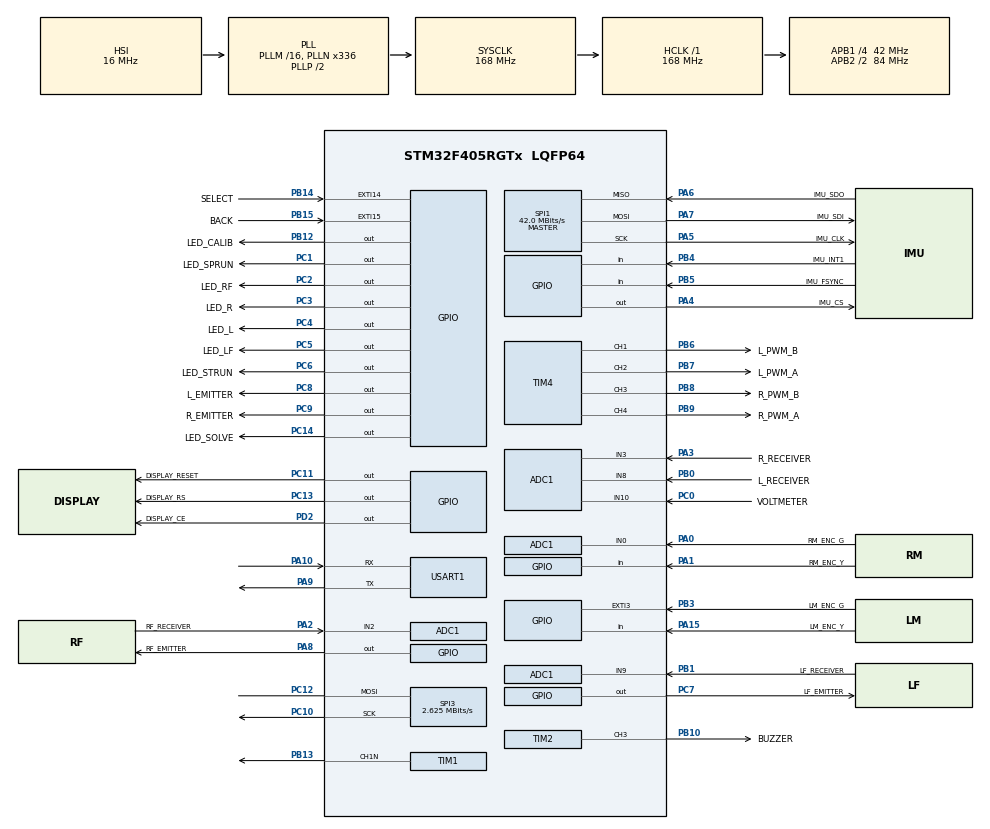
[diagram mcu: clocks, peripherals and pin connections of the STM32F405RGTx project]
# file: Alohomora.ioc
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ADC1.Channel-0\#ChannelRegularConversion=ADC_CHANNEL_10
ADC1.NbrOfConversionFlag=1
ADC1.Rank-0\#ChannelRegularConversion=1
ADC1.SamplingTime-0\#ChannelRegularConversion=ADC_SAMPLETIME_3CYCLES
ADC1.master=1
Mcu.Family=STM32F4
Mcu.Name=STM32F405RGTx
Mcu.Package=LQFP64
NVIC.PriorityGroup=NVIC_PRIORITYGROUP_4
PA0-WKUP.GPIO_Label=RM_ENC_G
PA0-WKUP.Signal=ADCx_IN0
PA1.GPIO_Label=RM_ENC_Y
PA1.Signal=GPIO_Input
PA10.Mode=Asynchronous
PA10.Signal=USART1_RX
PA13.Mode=Serial_Wire
PA13.Signal=SYS_JTMS-SWDIO
PA14.Mode=Serial_Wire
PA14.Signal=SYS_JTCK-SWCLK
PA15.GPIO_Label=LM_ENC_Y
PA15.Signal=GPIO_Input
PA2.GPIO_Label=RF_RECEIVER
PA2.Signal=ADCx_IN2
PA3.GPIO_Label=R_RECEIVER
PA3.Signal=ADCx_IN3
PA4.GPIO_Label=IMU_CS
PA4.Signal=GPIO_Output
PA5.GPIO_Label=IMU_CLK
PA5.Mode=Full_Duplex_Master
PA5.Signal=SPI1_SCK
PA6.GPIO_Label=IMU_SDO
PA6.Mode=Full_Duplex_Master
PA6.Signal=SPI1_MISO
PA7.GPIO_Label=IMU_SDI
PA7.Mode=Full_Duplex_Master
PA7.Signal=SPI1_MOSI
PA8.GPIO_Label=RF_EMITTER
PA8.Signal=GPIO_Output
PA9.Mode=Asynchronous
PA9.Signal=USART1_TX
PB0.GPIO_Label=L_RECEIVER
PB0.Signal=ADCx_IN8
PB1.GPIO_Label=LF_RECEIVER
PB1.Signal=ADCx_IN9
PB10.GPIO_Label=BUZZER
PB10.Signal=S_TIM2_CH3
PB12.GPIO_Label=LED_CALIB
PB12.Signal=GPIO_Output
PB13.Mode=PWM Generation1 CH1N
PB13.Signal=TIM1_CH1N
PB14.GPIO_Label=SELECT
PB14.Signal=GPXTI14
PB15.GPIO_Label=BACK
PB15.Signal=GPXTI15
PB3.GPIO_Label=LM_ENC_G
PB3.Signal=GPXTI3
PB4.GPIO_Label=IMU_INT1
PB4.Signal=GPIO_Input
PB5.GPIO_Label=IMU_FSYNC
PB5.Signal=GPIO_Input
PB6.GPIO_Label=L_PWM_B
PB6.Signal=S_TIM4_CH1
PB7.GPIO_Label=L_PWM_A
PB7.Signal=S_TIM4_CH2
PB8.GPIO_Label=R_PWM_B
PB8.Signal=S_TIM4_CH3
PB9.GPIO_Label=R_PWM_A
PB9.Signal=S_TIM4_CH4
PC0.GPIO_Label=VOLTMETER
PC0.Signal=ADCx_IN10
PC1.GPIO_Label=LED_SPRUN
PC1.Signal=GPIO_Output
PC10.Mode=Simplex_Bidirectional_Master
PC10.Signal=SPI3_SCK
PC11.GPIO_Label=DISPLAY_RESET
PC11.Signal=GPIO_Output
PC12.Mode=Simplex_Bidirectional_Master
PC12.Signal=SPI3_MOSI
PC13-ANTI_TAMP.GPIO_Label=DISPLAY_RS
PC13-ANTI_TAMP.Signal=GPIO_Output
PC14-OSC32_IN.GPIO_Label=LED_SOLVE
PC14-OSC32_IN.Signal=GPIO_Output
PC2.GPIO_Label=LED_RF
PC2.Signal=GPIO_Output
PC3.GPIO_Label=LED_R
PC3.Signal=GPIO_Output
PC4.GPIO_Label=LED_L
PC4.Signal=GPIO_Output
PC5.GPIO_Label=LED_LF
PC5.Signal=GPIO_Output
PC6.GPIO_Label=LED_STRUN
PC6.Signal=GPIO_Output
PC7.GPIO_Label=LF_EMITTER
PC7.Signal=GPIO_Output
PC8.GPIO_Label=L_EMITTER
PC8.Signal=GPIO_Output
PC9.GPIO_Label=R_EMITTER
PC9.Signal=GPIO_Output
PD2.GPIO_Label=DISPLAY_CE
PD2.Signal=GPIO_Output
ProjectManager.HeapSize=0x200
ProjectManager.StackSize=0x400
ProjectManager.TargetToolchain=STM32CubeIDE
RCC.48MHZClocksFreq_Value=48000000
RCC.AHBFreq_Value=168000000
RCC.APB1CLKDivider=RCC_HCLK_DIV4
RCC.APB1Freq_Value=42000000
RCC.APB1TimFreq_Value=84000000
RCC.APB2CLKDivider=RCC_HCLK_DIV2
RCC.APB2Freq_Value=84000000
RCC.APB2TimFreq_Value=168000000
RCC.CortexFreq_Value=168000000
RCC.HCLKFreq_Value=168000000
RCC.HSE_VALUE=25000000
RCC.HSI_VALUE=16000000
RCC.LSE_VALUE=32768
RCC.PLLN=336
RCC.PLLQ=7
RCC.RCC_RTC_Clock_Source=RCC_RTCCLKSOURCE_LSI
RCC.RCC_RTC_Clock_SourceVirtual=RCC_RTCCLKSOURCE_LSI
RCC.SYSCLKFreq_VALUE=168000000
RCC.SYSCLKSource=RCC_SYSCLKSOURCE_PLLCLK
RCC.VCOOutputFreq_Value=336000000
SH.ADCx_IN0.0=ADC1_IN0,IN0
SH.ADCx_IN10.0=ADC1_IN10,IN10
SH.ADCx_IN2.0=ADC1_IN2,IN2
SH.ADCx_IN3.0=ADC1_IN3,IN3
SH.ADCx_IN8.0=ADC1_IN8,IN8
SH.ADCx_IN9.0=ADC1_IN9,IN9
SH.S_TIM2_CH3.0=TIM2_CH3,PWM Generation3 CH3
SH.S_TIM4_CH1.0=TIM4_CH1,PWM Generation1 CH1
SH.S_TIM4_CH2.0=TIM4_CH2,PWM Generation2 CH2
SH.S_TIM4_CH3.0=TIM4_CH3,PWM Generation3 CH3
SH.S_TIM4_CH4.0=TIM4_CH4,PWM Generation4 CH4
SPI1.BaudRatePrescaler=SPI_BAUDRATEPRESCALER_2
SPI1.CalculateBaudRate=42.0 MBits/s
SPI1.Direction=SPI_DIRECTION_2LINES
SPI1.Mode=SPI_MODE_MASTER
SPI1.VirtualType=VM_MASTER
SPI3.BaudRatePrescaler=SPI_BAUDRATEPRESCALER_16
SPI3.CalculateBaudRate=2.625 MBits/s
SPI3.Direction=SPI_DIRECTION_1LINE
SPI3.Mode=SPI_MODE_MASTER
SPI3.VirtualType=VM_MASTER
TIM1.Channel-PWM\ Generation1\ CH1N=TIM_CHANNEL_1
TIM1.ClockDivision=TIM_CLOCKDIVISION_DIV4
TIM1.Period=10000
TIM1.Prescaler=168
TIM1.Pulse-PWM\ Generation1\ CH1N=5000
TIM2.AutoReloadPreload=TIM_AUTORELOAD_PRELOAD_ENABLE
TIM2.Channel-PWM\ Generation3\ CH3=TIM_CHANNEL_3
TIM2.ClockDivision=TIM_CLOCKDIVISION_DIV1
TIM2.Period=250
TIM2.Prescaler=83
TIM2.Pulse-PWM\ Generation3\ CH3=125
TIM4.Channel-PWM\ Generation1\ CH1=TIM_CHANNEL_1
TIM4.Channel-PWM\ Generation2\ CH2=TIM_CHANNEL_2
TIM4.Channel-PWM\ Generation3\ CH3=TIM_CHANNEL_3
TIM4.Channel-PWM\ Generation4\ CH4=TIM_CHANNEL_4
USART1.VirtualMode=VM_ASYNC
VP_TIM1_VS_ClockSourceINT.Mode=Internal
VP_TIM2_VS_ClockSourceINT.Mode=Internal
VP_TIM4_VS_ClockSourceINT.Mode=Internal
board=custom

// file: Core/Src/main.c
/* USER CODE BEGIN Header */
/**
  ******************************************************************************
  * @file           : main.c
  * @brief          : Main program body
  ******************************************************************************
  * @attention
  *
  * Copyright (c) 2025 STMicroelectronics.
  * All rights reserved.
  *
  * This software is licensed under terms that can be found in the LICENSE file
  * in the root directory of this software component.
  * If no LICENSE file comes with this software, it is provided AS-IS.
  *
  ******************************************************************************
  */
/* USER CODE END Header */
#include "main.h"

ADC_HandleTypeDef hadc1;

SPI_HandleTypeDef hspi1;
SPI_HandleTypeDef hspi3;

TIM_HandleTypeDef htim1;
TIM_HandleTypeDef htim2;
TIM_HandleTypeDef htim4;

UART_HandleTypeDef huart1;

void SystemClock_Config(void);
static void MX_GPIO_Init(void);
static void MX_USART1_UART_Init(void);
static void MX_ADC1_Init(void);
static void MX_SPI1_Init(void);
static void MX_TIM4_Init(void);
static void MX_SPI3_Init(void);
static void MX_TIM2_Init(void);
static void MX_TIM1_Init(void);
/* USER CODE BEGIN PFP */
// Simplified 5x7 font table for "ON" and space
const uint8_t font_5x7[96][5] = {
    {0x00, 0x00, 0x00, 0x00, 0x00}, // Space (ASCII 32)
    // ... Other characters omitted for brevity
    {0x3E, 0x41, 0x41, 0x41, 0x3E}, // O (ASCII 79)
    {0x7F, 0x04, 0x08, 0x10, 0x7F}  // N (ASCII 78)
};

/* USER CODE END PFP */

int main(void)
{

  /* MCU Configuration--------------------------------------------------------*/

  /* Reset of all peripherals, Initializes the Flash interface and the Systick. */
  HAL_Init();

  /* Configure the system clock */
  SystemClock_Config();

  /* Initialize all configured peripherals */
  MX_GPIO_Init();
  MX_USART1_UART_Init();
  MX_ADC1_Init();
  MX_SPI1_Init();
  MX_TIM4_Init();
  MX_SPI3_Init();
  MX_TIM2_Init();
  MX_TIM1_Init();
  /* USER CODE BEGIN 2 */
  // Initialize and turn on HCMS-2903 display
//    HCMS2903_Init();
//
//    // Display "ON  " (padded with spaces)
//    HCMS2903_DisplayString("ON");

  /* USER CODE END 2 */

  /* Infinite loop */
  /* USER CODE BEGIN WHILE */
  //
  HAL_TIMEx_PWMN_Start(&htim1, TIM_CHANNEL_1);
  while (1)
  {
    /* USER CODE END WHILE */

  }
}

void SystemClock_Config(void)
{
  RCC_OscInitTypeDef RCC_OscInitStruct = {0};
  RCC_ClkInitTypeDef RCC_ClkInitStruct = {0};

  /** Configure the main internal regulator output voltage
  */
  __HAL_RCC_PWR_CLK_ENABLE();
  __HAL_PWR_VOLTAGESCALING_CONFIG(PWR_REGULATOR_VOLTAGE_SCALE1);

  /** Initializes the RCC Oscillators according to the specified parameters
  * in the RCC_OscInitTypeDef structure.
  */
  RCC_OscInitStruct.OscillatorType = RCC_OSCILLATORTYPE_HSI;
  RCC_OscInitStruct.HSIState = RCC_HSI_ON;
  RCC_OscInitStruct.HSICalibrationValue = RCC_HSICALIBRATION_DEFAULT;
  RCC_OscInitStruct.PLL.PLLState = RCC_PLL_ON;
  RCC_OscInitStruct.PLL.PLLSource = RCC_PLLSOURCE_HSI;
  RCC_OscInitStruct.PLL.PLLM = 16;
  RCC_OscInitStruct.PLL.PLLN = 336;
  RCC_OscInitStruct.PLL.PLLP = RCC_PLLP_DIV2;
  RCC_OscInitStruct.PLL.PLLQ = 7;
  if (HAL_RCC_OscConfig(&RCC_OscInitStruct) != HAL_OK)
  {
    Error_Handler();
  }

  /** Initializes the CPU, AHB and APB buses clocks
  */
  RCC_ClkInitStruct.ClockType = RCC_CLOCKTYPE_HCLK|RCC_CLOCKTYPE_SYSCLK
                              |RCC_CLOCKTYPE_PCLK1|RCC_CLOCKTYPE_PCLK2;
  RCC_ClkInitStruct.SYSCLKSource = RCC_SYSCLKSOURCE_PLLCLK;
  RCC_ClkInitStruct.AHBCLKDivider = RCC_SYSCLK_DIV1;
  RCC_ClkInitStruct.APB1CLKDivider = RCC_HCLK_DIV4;
  RCC_ClkInitStruct.APB2CLKDivider = RCC_HCLK_DIV2;

  if (HAL_RCC_ClockConfig(&RCC_ClkInitStruct, FLASH_LATENCY_5) != HAL_OK)
  {
    Error_Handler();
  }
}

static void MX_ADC1_Init(void)
{

  ADC_ChannelConfTypeDef sConfig = {0};

  /** Configure the global features of the ADC (Clock, Resolution, Data Alignment and number of conversion)
  */
  hadc1.Instance = ADC1;
  hadc1.Init.ClockPrescaler = ADC_CLOCK_SYNC_PCLK_DIV4;
  hadc1.Init.Resolution = ADC_RESOLUTION_12B;
  hadc1.Init.ScanConvMode = DISABLE;
  hadc1.Init.ContinuousConvMode = DISABLE;
  hadc1.Init.DiscontinuousConvMode = DISABLE;
  hadc1.Init.ExternalTrigConvEdge = ADC_EXTERNALTRIGCONVEDGE_NONE;
  hadc1.Init.ExternalTrigConv = ADC_SOFTWARE_START;
  hadc1.Init.DataAlign = ADC_DATAALIGN_RIGHT;
  hadc1.Init.NbrOfConversion = 1;
  hadc1.Init.DMAContinuousRequests = DISABLE;
  hadc1.Init.EOCSelection = ADC_EOC_SINGLE_CONV;
  if (HAL_ADC_Init(&hadc1) != HAL_OK)
  {
    Error_Handler();
  }

  /** Configure for the selected ADC regular channel its corresponding rank in the sequencer and its sample time.
  */
  sConfig.Channel = ADC_CHANNEL_10;
  sConfig.Rank = 1;
  sConfig.SamplingTime = ADC_SAMPLETIME_3CYCLES;
  if (HAL_ADC_ConfigChannel(&hadc1, &sConfig) != HAL_OK)
  {
    Error_Handler();
  }

}

static void MX_SPI1_Init(void)
{

  /* SPI1 parameter configuration*/
  hspi1.Instance = SPI1;
  hspi1.Init.Mode = SPI_MODE_MASTER;
  hspi1.Init.Direction = SPI_DIRECTION_2LINES;
  hspi1.Init.DataSize = SPI_DATASIZE_8BIT;
  hspi1.Init.CLKPolarity = SPI_POLARITY_LOW;
  hspi1.Init.CLKPhase = SPI_PHASE_1EDGE;
  hspi1.Init.NSS = SPI_NSS_SOFT;
  hspi1.Init.BaudRatePrescaler = SPI_BAUDRATEPRESCALER_2;
  hspi1.Init.FirstBit = SPI_FIRSTBIT_MSB;
  hspi1.Init.TIMode = SPI_TIMODE_DISABLE;
  hspi1.Init.CRCCalculation = SPI_CRCCALCULATION_DISABLE;
  hspi1.Init.CRCPolynomial = 10;
  if (HAL_SPI_Init(&hspi1) != HAL_OK)
  {
    Error_Handler();
  }

}

static void MX_SPI3_Init(void)
{

  /* SPI3 parameter configuration*/
  hspi3.Instance = SPI3;
  hspi3.Init.Mode = SPI_MODE_MASTER;
  hspi3.Init.Direction = SPI_DIRECTION_1LINE;
  hspi3.Init.DataSize = SPI_DATASIZE_8BIT;
  hspi3.Init.CLKPolarity = SPI_POLARITY_LOW;
  hspi3.Init.CLKPhase = SPI_PHASE_1EDGE;
  hspi3.Init.NSS = SPI_NSS_SOFT;
  hspi3.Init.BaudRatePrescaler = SPI_BAUDRATEPRESCALER_16;
  hspi3.Init.FirstBit = SPI_FIRSTBIT_MSB;
  hspi3.Init.TIMode = SPI_TIMODE_DISABLE;
  hspi3.Init.CRCCalculation = SPI_CRCCALCULATION_DISABLE;
  hspi3.Init.CRCPolynomial = 10;
  if (HAL_SPI_Init(&hspi3) != HAL_OK)
  {
    Error_Handler();
  }

}

static void MX_TIM1_Init(void)
{

  TIM_ClockConfigTypeDef sClockSourceConfig = {0};
  TIM_MasterConfigTypeDef sMasterConfig = {0};
  TIM_OC_InitTypeDef sConfigOC = {0};
  TIM_BreakDeadTimeConfigTypeDef sBreakDeadTimeConfig = {0};

  htim1.Instance = TIM1;
  htim1.Init.Prescaler = 168;
  htim1.Init.CounterMode = TIM_COUNTERMODE_UP;
  htim1.Init.Period = 10000;
  htim1.Init.ClockDivision = TIM_CLOCKDIVISION_DIV4;
  htim1.Init.RepetitionCounter = 0;
  htim1.Init.AutoReloadPreload = TIM_AUTORELOAD_PRELOAD_DISABLE;
  if (HAL_TIM_Base_Init(&htim1) != HAL_OK)
  {
    Error_Handler();
  }
  sClockSourceConfig.ClockSource = TIM_CLOCKSOURCE_INTERNAL;
  if (HAL_TIM_ConfigClockSource(&htim1, &sClockSourceConfig) != HAL_OK)
  {
    Error_Handler();
  }
  if (HAL_TIM_PWM_Init(&htim1) != HAL_OK)
  {
    Error_Handler();
  }
  sMasterConfig.MasterOutputTrigger = TIM_TRGO_RESET;
  sMasterConfig.MasterSlaveMode = TIM_MASTERSLAVEMODE_DISABLE;
  if (HAL_TIMEx_MasterConfigSynchronization(&htim1, &sMasterConfig) != HAL_OK)
  {
    Error_Handler();
  }
  sConfigOC.OCMode = TIM_OCMODE_PWM1;
  sConfigOC.Pulse = 5000;
  sConfigOC.OCPolarity = TIM_OCPOLARITY_HIGH;
  sConfigOC.OCNPolarity = TIM_OCNPOLARITY_HIGH;
  sConfigOC.OCFastMode = TIM_OCFAST_DISABLE;
  sConfigOC.OCIdleState = TIM_OCIDLESTATE_RESET;
  sConfigOC.OCNIdleState = TIM_OCNIDLESTATE_RESET;
  if (HAL_TIM_PWM_ConfigChannel(&htim1, &sConfigOC, TIM_CHANNEL_1) != HAL_OK)
  {
    Error_Handler();
  }
  sBreakDeadTimeConfig.OffStateRunMode = TIM_OSSR_DISABLE;
  sBreakDeadTimeConfig.OffStateIDLEMode = TIM_OSSI_DISABLE;
  sBreakDeadTimeConfig.LockLevel = TIM_LOCKLEVEL_OFF;
  sBreakDeadTimeConfig.DeadTime = 0;
  sBreakDeadTimeConfig.BreakState = TIM_BREAK_DISABLE;
  sBreakDeadTimeConfig.BreakPolarity = TIM_BREAKPOLARITY_HIGH;
  sBreakDeadTimeConfig.AutomaticOutput = TIM_AUTOMATICOUTPUT_DISABLE;
  if (HAL_TIMEx_ConfigBreakDeadTime(&htim1, &sBreakDeadTimeConfig) != HAL_OK)
  {
    Error_Handler();
  }
  HAL_TIM_MspPostInit(&htim1);

}

static void MX_TIM2_Init(void)
{

  TIM_ClockConfigTypeDef sClockSourceConfig = {0};
  TIM_MasterConfigTypeDef sMasterConfig = {0};
  TIM_OC_InitTypeDef sConfigOC = {0};

  htim2.Instance = TIM2;
  htim2.Init.Prescaler = 83;
  htim2.Init.CounterMode = TIM_COUNTERMODE_UP;
  htim2.Init.Period = 250;
  htim2.Init.ClockDivision = TIM_CLOCKDIVISION_DIV1;
  htim2.Init.AutoReloadPreload = TIM_AUTORELOAD_PRELOAD_ENABLE;
  if (HAL_TIM_Base_Init(&htim2) != HAL_OK)
  {
    Error_Handler();
  }
  sClockSourceConfig.ClockSource = TIM_CLOCKSOURCE_INTERNAL;
  if (HAL_TIM_ConfigClockSource(&htim2, &sClockSourceConfig) != HAL_OK)
  {
    Error_Handler();
  }
  if (HAL_TIM_PWM_Init(&htim2) != HAL_OK)
  {
    Error_Handler();
  }
  sMasterConfig.MasterOutputTrigger = TIM_TRGO_RESET;
  sMasterConfig.MasterSlaveMode = TIM_MASTERSLAVEMODE_DISABLE;
  if (HAL_TIMEx_MasterConfigSynchronization(&htim2, &sMasterConfig) != HAL_OK)
  {
    Error_Handler();
  }
  sConfigOC.OCMode = TIM_OCMODE_PWM1;
  sConfigOC.Pulse = 125;
  sConfigOC.OCPolarity = TIM_OCPOLARITY_HIGH;
  sConfigOC.OCFastMode = TIM_OCFAST_DISABLE;
  if (HAL_TIM_PWM_ConfigChannel(&htim2, &sConfigOC, TIM_CHANNEL_3) != HAL_OK)
  {
    Error_Handler();
  }
  HAL_TIM_MspPostInit(&htim2);

}

static void MX_TIM4_Init(void)
{

  TIM_ClockConfigTypeDef sClockSourceConfig = {0};
  TIM_MasterConfigTypeDef sMasterConfig = {0};
  TIM_OC_InitTypeDef sConfigOC = {0};

  htim4.Instance = TIM4;
  htim4.Init.Prescaler = 0;
  htim4.Init.CounterMode = TIM_COUNTERMODE_UP;
  htim4.Init.Period = 65535;
  htim4.Init.ClockDivision = TIM_CLOCKDIVISION_DIV1;
  htim4.Init.AutoReloadPreload = TIM_AUTORELOAD_PRELOAD_DISABLE;
  if (HAL_TIM_Base_Init(&htim4) != HAL_OK)
  {
    Error_Handler();
  }
  sClockSourceConfig.ClockSource = TIM_CLOCKSOURCE_INTERNAL;
  if (HAL_TIM_ConfigClockSource(&htim4, &sClockSourceConfig) != HAL_OK)
  {
    Error_Handler();
  }
  if (HAL_TIM_PWM_Init(&htim4) != HAL_OK)
  {
    Error_Handler();
  }
  sMasterConfig.MasterOutputTrigger = TIM_TRGO_RESET;
  sMasterConfig.MasterSlaveMode = TIM_MASTERSLAVEMODE_DISABLE;
  if (HAL_TIMEx_MasterConfigSynchronization(&htim4, &sMasterConfig) != HAL_OK)
  {
    Error_Handler();
  }
  sConfigOC.OCMode = TIM_OCMODE_PWM1;
  sConfigOC.Pulse = 0;
  sConfigOC.OCPolarity = TIM_OCPOLARITY_HIGH;
  sConfigOC.OCFastMode = TIM_OCFAST_DISABLE;
  if (HAL_TIM_PWM_ConfigChannel(&htim4, &sConfigOC, TIM_CHANNEL_1) != HAL_OK)
  {
    Error_Handler();
  }
  if (HAL_TIM_PWM_ConfigChannel(&htim4, &sConfigOC, TIM_CHANNEL_2) != HAL_OK)
  {
    Error_Handler();
  }
  if (HAL_TIM_PWM_ConfigChannel(&htim4, &sConfigOC, TIM_CHANNEL_3) != HAL_OK)
  {
    Error_Handler();
  }
  if (HAL_TIM_PWM_ConfigChannel(&htim4, &sConfigOC, TIM_CHANNEL_4) != HAL_OK)
  {
    Error_Handler();
  }
  HAL_TIM_MspPostInit(&htim4);

}

static void MX_USART1_UART_Init(void)
{

  huart1.Instance = USART1;
  huart1.Init.BaudRate = 115200;
  huart1.Init.WordLength = UART_WORDLENGTH_8B;
  huart1.Init.StopBits = UART_STOPBITS_1;
  huart1.Init.Parity = UART_PARITY_NONE;
  huart1.Init.Mode = UART_MODE_TX_RX;
  huart1.Init.HwFlowCtl = UART_HWCONTROL_NONE;
  huart1.Init.OverSampling = UART_OVERSAMPLING_16;
  if (HAL_UART_Init(&huart1) != HAL_OK)
  {
    Error_Handler();
  }

}

static void MX_GPIO_Init(void)
{
  GPIO_InitTypeDef GPIO_InitStruct = {0};

  /* GPIO Ports Clock Enable */
  __HAL_RCC_GPIOC_CLK_ENABLE();
  __HAL_RCC_GPIOA_CLK_ENABLE();
  __HAL_RCC_GPIOB_CLK_ENABLE();
  __HAL_RCC_GPIOD_CLK_ENABLE();

  /*Configure GPIO pin Output Level */
  HAL_GPIO_WritePin(GPIOC, DISPLAY_RS_Pin|LED_SOLVE_Pin|LED_SPRUN_Pin|LED_RF_Pin
                          |LED_R_Pin|LED_L_Pin|LED_LF_Pin|LED_STRUN_Pin
                          |LF_EMITTER_Pin|L_EMITTER_Pin|R_EMITTER_Pin|DISPLAY_RESET_Pin, GPIO_PIN_RESET);

  /*Configure GPIO pin Output Level */
  HAL_GPIO_WritePin(GPIOA, IMU_CS_Pin|RF_EMITTER_Pin, GPIO_PIN_RESET);

  /*Configure GPIO pin Output Level */
  HAL_GPIO_WritePin(LED_CALIB_GPIO_Port, LED_CALIB_Pin, GPIO_PIN_RESET);

  /*Configure GPIO pin Output Level */
  HAL_GPIO_WritePin(DISPLAY_CE_GPIO_Port, DISPLAY_CE_Pin, GPIO_PIN_RESET);

  /*Configure GPIO pins : DISPLAY_RS_Pin LED_SOLVE_Pin LED_SPRUN_Pin LED_RF_Pin
                           LED_R_Pin LED_L_Pin LED_LF_Pin LED_STRUN_Pin
                           LF_EMITTER_Pin L_EMITTER_Pin R_EMITTER_Pin DISPLAY_RESET_Pin */
  GPIO_InitStruct.Pin = DISPLAY_RS_Pin|LED_SOLVE_Pin|LED_SPRUN_Pin|LED_RF_Pin
                          |LED_R_Pin|LED_L_Pin|LED_LF_Pin|LED_STRUN_Pin
                          |LF_EMITTER_Pin|L_EMITTER_Pin|R_EMITTER_Pin|DISPLAY_RESET_Pin;
  GPIO_InitStruct.Mode = GPIO_MODE_OUTPUT_PP;
  GPIO_InitStruct.Pull = GPIO_NOPULL;
  GPIO_InitStruct.Speed = GPIO_SPEED_FREQ_LOW;
  HAL_GPIO_Init(GPIOC, &GPIO_InitStruct);

  /*Configure GPIO pins : RM_ENC_Y_Pin LM_ENC_Y_Pin */
  GPIO_InitStruct.Pin = RM_ENC_Y_Pin|LM_ENC_Y_Pin;
  GPIO_InitStruct.Mode = GPIO_MODE_INPUT;
  GPIO_InitStruct.Pull = GPIO_NOPULL;
  HAL_GPIO_Init(GPIOA, &GPIO_InitStruct);

  /*Configure GPIO pins : IMU_CS_Pin RF_EMITTER_Pin */
  GPIO_InitStruct.Pin = IMU_CS_Pin|RF_EMITTER_Pin;
  GPIO_InitStruct.Mode = GPIO_MODE_OUTPUT_PP;
  GPIO_InitStruct.Pull = GPIO_NOPULL;
  GPIO_InitStruct.Speed = GPIO_SPEED_FREQ_LOW;
  HAL_GPIO_Init(GPIOA, &GPIO_InitStruct);

  /*Configure GPIO pin : LED_CALIB_Pin */
  GPIO_InitStruct.Pin = LED_CALIB_Pin;
  GPIO_InitStruct.Mode = GPIO_MODE_OUTPUT_PP;
  GPIO_InitStruct.Pull = GPIO_NOPULL;
  GPIO_InitStruct.Speed = GPIO_SPEED_FREQ_LOW;
  HAL_GPIO_Init(LED_CALIB_GPIO_Port, &GPIO_InitStruct);

  /*Configure GPIO pins : SELECT_Pin BACK_Pin LM_ENC_G_Pin */
  GPIO_InitStruct.Pin = SELECT_Pin|BACK_Pin|LM_ENC_G_Pin;
  GPIO_InitStruct.Mode = GPIO_MODE_IT_RISING;
  GPIO_InitStruct.Pull = GPIO_NOPULL;
  HAL_GPIO_Init(GPIOB, &GPIO_InitStruct);

  /*Configure GPIO pin : DISPLAY_CE_Pin */
  GPIO_InitStruct.Pin = DISPLAY_CE_Pin;
  GPIO_InitStruct.Mode = GPIO_MODE_OUTPUT_PP;
  GPIO_InitStruct.Pull = GPIO_NOPULL;
  GPIO_InitStruct.Speed = GPIO_SPEED_FREQ_LOW;
  HAL_GPIO_Init(DISPLAY_CE_GPIO_Port, &GPIO_InitStruct);

  /*Configure GPIO pins : IMU_INT1_Pin IMU_FSYNC_Pin */
  GPIO_InitStruct.Pin = IMU_INT1_Pin|IMU_FSYNC_Pin;
  GPIO_InitStruct.Mode = GPIO_MODE_INPUT;
  GPIO_InitStruct.Pull = GPIO_NOPULL;
  HAL_GPIO_Init(GPIOB, &GPIO_InitStruct);

}

/* USER CODE BEGIN 4 */
void HCMS2903_Init(void)
{
  // Reset display (active low, hold for 1 ms)
  HAL_GPIO_WritePin(DISPLAY_RESET_GPIO_Port, DISPLAY_RESET_Pin, GPIO_PIN_RESET);
  HAL_Delay(1);
  HAL_GPIO_WritePin(DISPLAY_RESET_GPIO_Port, DISPLAY_RESET_Pin, GPIO_PIN_SET);
  HAL_Delay(1);

  // Load Control Word 0: Wake up, max brightness (D7=0, D6=0, D5-D3=000, D2-D0=111)
  HAL_GPIO_WritePin(DISPLAY_RS_GPIO_Port, DISPLAY_RS_Pin, GPIO_PIN_SET);   // RS high for Control Register
  HAL_GPIO_WritePin(DISPLAY_CE_GPIO_Port, DISPLAY_CE_Pin, GPIO_PIN_RESET); // CE low to start
  HCMS2903_WriteControl(0x7F); // 00000111: Normal mode, max PWM brightness
  HAL_GPIO_WritePin(DISPLAY_CE_GPIO_Port, DISPLAY_CE_Pin, GPIO_PIN_SET);   // CE high to latch
  HAL_Delay(1); // Ensure data is copied when CLK goes low

  // Load Control Word 1: Serial mode, no prescaler (D7=1, D1=0, D0=0)
  HAL_GPIO_WritePin(DISPLAY_RS_GPIO_Port, DISPLAY_RS_Pin, GPIO_PIN_SET);   // RS high
  HAL_GPIO_WritePin(DISPLAY_CE_GPIO_Port, DISPLAY_CE_Pin, GPIO_PIN_RESET); // CE low
  HCMS2903_WriteControl(0x80); // 10000000: Serial mode, no prescaler
  HAL_GPIO_WritePin(DISPLAY_CE_GPIO_Port, DISPLAY_CE_Pin, GPIO_PIN_SET);   // CE high to latch
  HAL_Delay(1);
}

void HCMS2903_WriteControl(uint8_t controlWord)
{
  // Shift in 8 bits, MSB first, on rising CLK edges
  HAL_SPI_Transmit(&hspi3, &controlWord, 1, HAL_MAX_DELAY); // Changed from hspi1 to hspi3k
  // Data is copied to Control Register when CLK goes low (handled by SPI hardware)
}

void HCMS2903_WriteChar(uint8_t character, uint8_t position)
{
  if (character < 32 || character > 127) return; // Validate ASCII
  uint8_t index = character - 32;

  HAL_GPIO_WritePin(DISPLAY_CE_GPIO_Port, DISPLAY_CE_Pin, GPIO_PIN_SET); // CE high to start
  HAL_GPIO_WritePin(DISPLAY_RS_GPIO_Port, DISPLAY_RS_Pin, GPIO_PIN_RESET); // RS low for Dot Register
  HAL_GPIO_WritePin(DISPLAY_CE_GPIO_Port, DISPLAY_CE_Pin, GPIO_PIN_RESET); // CE low to start

  // Send 5 bytes for the character (5 columns of 7 bits)
  for (uint8_t i = 0; i < 5; i++)
  {
    HAL_SPI_Transmit(&hspi3, &font_5x7[index][i], 1, HAL_MAX_DELAY); // Changed from hspi1 to hspi3
  }

  HAL_GPIO_WritePin(DISPLAY_CE_GPIO_Port, DISPLAY_CE_Pin, GPIO_PIN_SET); // CE high to latch
}

void HCMS2903_DisplayString(const char* str)
{
  for (uint8_t pos = 0; pos < 4 && str[pos] != '\0'; pos++)
  {
    HCMS2903_WriteChar(str[pos], pos);
  }
}

/* USER CODE END 4 */

void Error_Handler(void)
{
  __disable_irq();
  while (1)
  {
  }
}
